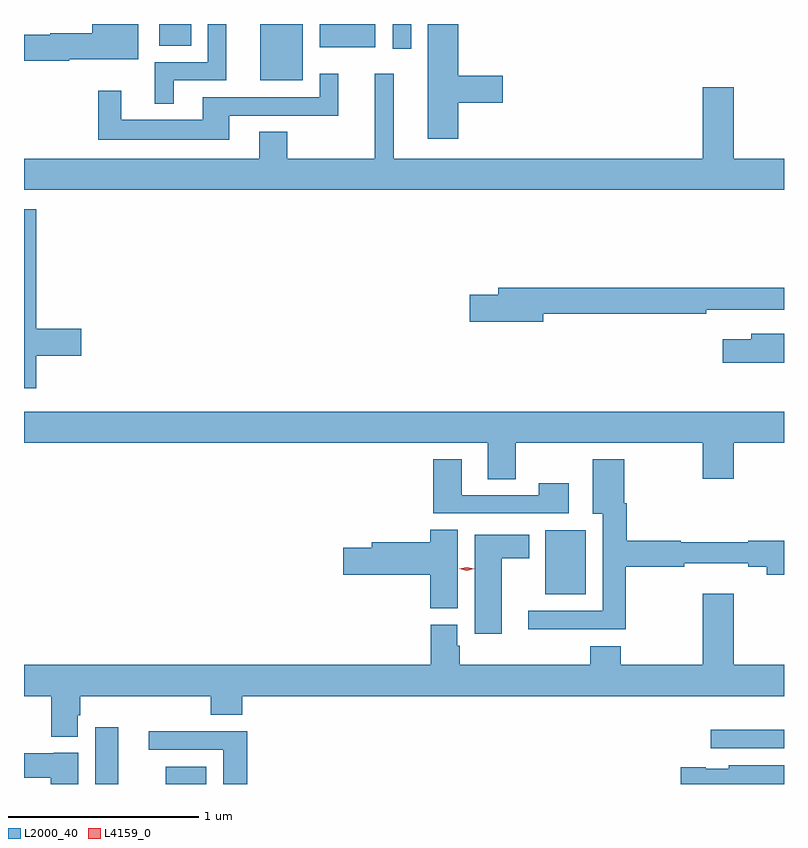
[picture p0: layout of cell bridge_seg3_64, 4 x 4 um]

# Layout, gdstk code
import gdstk
lib = gdstk.Library(unit=1e-6, precision=1e-09)
def R(c, l, rs):  # rectangles x0, y0, x1, y1
    for r in rs: c.add(gdstk.rectangle(r[:2], r[2:], *l))
def P(c, l, *ps):  # polygons
    for p in ps: c.add(gdstk.Polygon(p, *l))
L2000_40 = (2000, 40)
L4159_0 = (4159, 0)

bridge_seg3_64 = lib.new_cell('bridge_seg3_64')
R(bridge_seg3_64, L2000_40, [(617.354,703.117,617.476,703.417), (617.726,703.117,617.938,703.207), (620.595,703.305,620.98,703.402), (619.724,704.117,619.936,704.452), (618.224,706.82,618.448,707.117), (618.921,706.986,619.017,707.117), (618.536,706.994,618.829,707.117), (617.691,707.002,617.861,707.117)])
P(bridge_seg3_64, L2000_40, [(617.767,706.821),(618.044,706.821),(618.044,707.117),(617.946,707.117),(617.946,706.917),(617.669,706.917),(617.669,706.697),(617.767,706.697)],
  [(619.265,706.702),(619.501,706.702),(619.501,706.844),(619.265,706.844),(619.265,707.117),(619.106,707.117),(619.106,706.512),(619.265,706.512)],
  [(617.218,706.931),(617.581,706.931),(617.581,707.117),(617.339,707.117),(617.339,707.068),(617.118,707.068),(617.118,707.06),(616.98,707.06),(616.98,706.924),(617.218,706.924)],
  [(620.98,706.408),(620.716,706.408),(620.716,706.783),(620.552,706.783),(620.552,706.408),(618.926,706.408),(618.926,706.855),(618.827,706.855),(618.827,706.408),(618.366,706.408),(618.366,706.55),(618.218,706.55),(618.218,706.408),(616.98,706.408),(616.98,706.244),(620.98,706.244)],
  [(618.061,706.635),(618.635,706.635),(618.635,706.855),(618.537,706.855),(618.537,706.731),(617.921,706.731),(617.921,706.612),(617.491,706.612),(617.491,706.765),(617.37,706.765),(617.37,706.508),(618.061,706.508)],
  [(617.045,705.37),(617.281,705.37),(617.281,705.512),(617.045,705.512),(617.045,706.141),(616.98,706.141),(616.98,705.201),(617.045,705.201)],
  [(619.714,705.592),(620.57,705.592),(620.57,705.612),(620.98,705.612),(620.98,705.728),(619.475,705.728),(619.475,705.692),(619.326,705.692),(619.326,705.55),(619.714,705.55)],
  [(620.98,705.486),(620.807,705.486),(620.807,705.457),(620.658,705.457),(620.658,705.335),(620.98,705.335)],
  [(619.569,704.912),(620.552,704.912),(620.552,704.724),(620.716,704.724),(620.716,704.912),(620.98,704.912),(620.98,705.076),(616.98,705.076),(616.98,704.912),(619.421,704.912),(619.421,704.722),(619.569,704.722)],
  [(619.846,704.701),(619.69,704.701),(619.69,704.637),(619.285,704.637),(619.285,704.827),(619.133,704.827),(619.133,704.541),(619.846,704.541)],
  [(620.148,704.26),(620.456,704.26),(620.456,704.279),(620.792,704.279),(620.792,704.26),(620.888,704.26),(620.888,704.218),(620.98,704.218),(620.98,704.396),(620.792,704.396),(620.792,704.389),(620.436,704.389),(620.436,704.396),(620.153,704.396),(620.153,704.594),(620.14,704.594),(620.14,704.827),(619.973,704.827),(619.973,704.54),(620.027,704.54),(620.027,704.028),(619.635,704.028),(619.635,703.931),(620.148,703.931)],
  [(619.264,704.456),(619.118,704.456),(619.118,704.39),(618.809,704.39),(618.809,704.36),(618.66,704.36),(618.66,704.218),(619.118,704.218),(619.118,704.041),(619.264,704.041)],
  [(619.495,704.306),(619.639,704.306),(619.639,704.428),(619.352,704.428),(619.352,703.908),(619.495,703.908)],
  [(616.98,703.58),(617.123,703.58),(617.123,703.367),(617.263,703.367),(617.263,703.479),(617.276,703.479),(617.276,703.58),(617.963,703.58),(617.963,703.481),(618.128,703.481),(618.128,703.58),(620.98,703.58),(620.98,703.744),(620.716,703.744),(620.716,704.119),(620.552,704.119),(620.552,703.744),(620.121,703.744),(620.121,703.843),(619.961,703.843),(619.961,703.744),(619.274,703.744),(619.274,703.845),(619.261,703.845),(619.261,703.956),(619.121,703.956),(619.121,703.744),(616.98,703.744)],
  [(618.155,703.394),(617.637,703.394),(617.637,703.296),(618.029,703.296),(618.029,703.117),(618.155,703.117)],
  [(617.266,703.282),(617.136,703.282),(617.136,703.279),(616.98,703.279),(616.98,703.15),(617.12,703.15),(617.12,703.117),(617.266,703.117)],
  [(620.98,703.216),(620.688,703.216),(620.688,703.198),(620.568,703.198),(620.568,703.206),(620.436,703.206),(620.436,703.117),(620.98,703.117)])
P(bridge_seg3_64, L4159_0, [(619.31,704.239),(619.27,704.249),(619.27,704.249),(619.27,704.249),(619.31,704.259),(619.349,704.249),(619.349,704.249),(619.349,704.249)])

lib.write_gds('bridge_seg3_64.gds')
